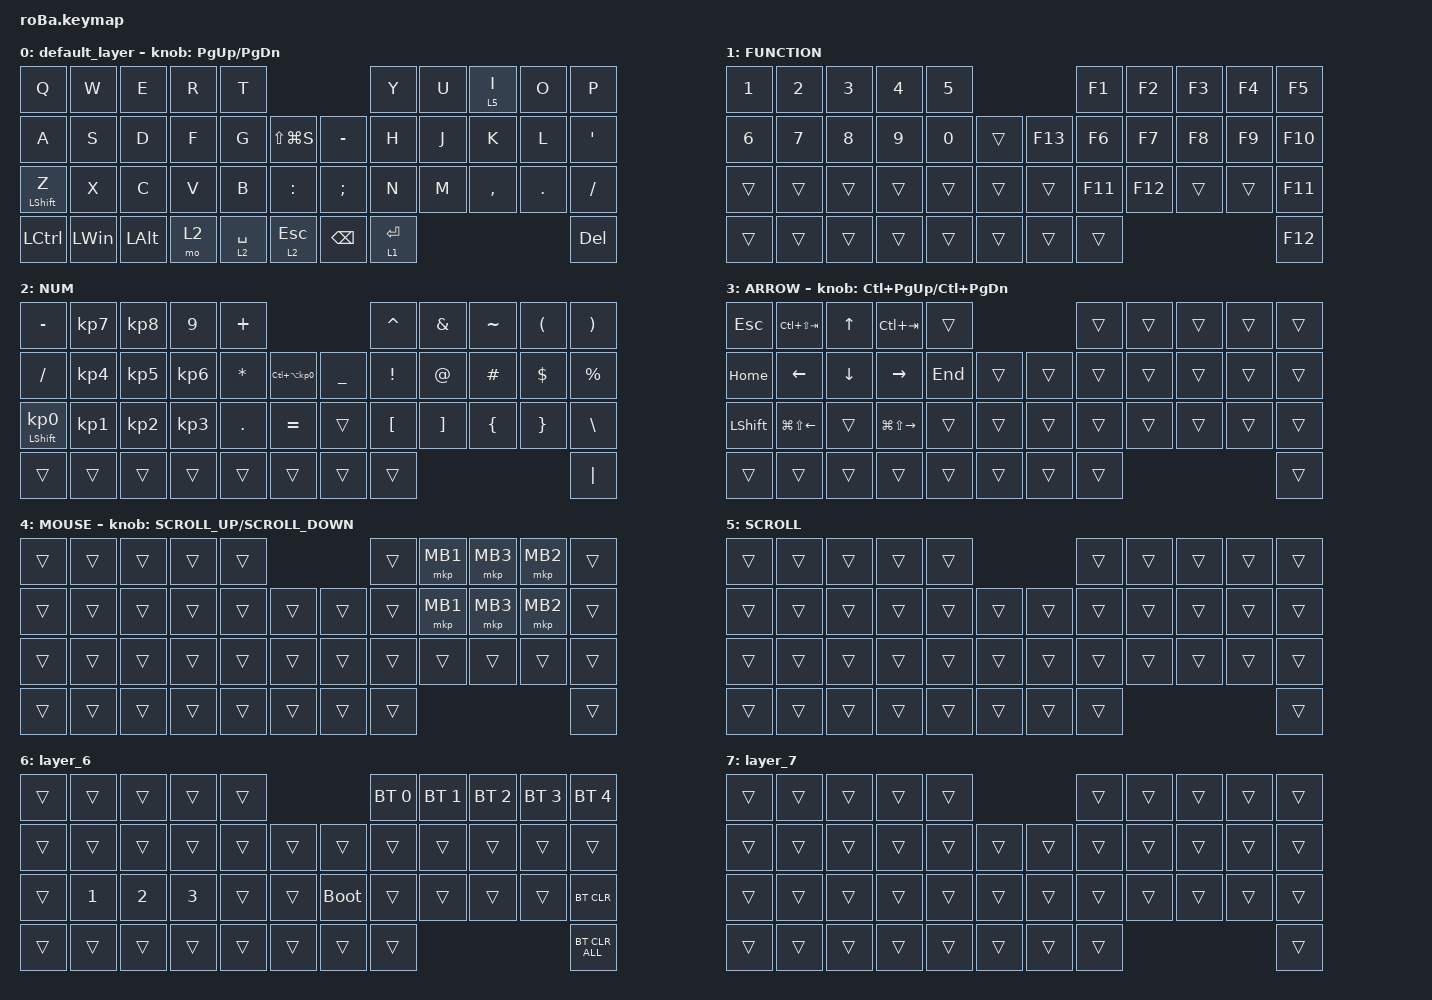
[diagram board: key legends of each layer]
#include <behaviors.dtsi>
#include <dt-bindings/zmk/bt.h>
#include <dt-bindings/zmk/keys.h>
#include <dt-bindings/zmk/pointing.h>

#define MOUSE 4
#define SCROLL 5
#define NUM 6

&mt {
    flavor = "balanced";
    quick-tap-ms = <0>;
};

/ {
    combos {
        compatible = "zmk,combos";

        esc {
            bindings = <&kp ESC>;
            key-positions = <1 0>;
        };

        shift_tab {
            bindings = <&kp LS(TAB)>;
            key-positions = <12 13>;
        };

        kana_hennkann {
            bindings = <&to_layer_0 INT_MUHENKAN>;
            key-positions = <11 10>;
        };

        double_quotation {
            bindings = <&kp DOUBLE_QUOTES>;
            key-positions = <20 21>;
        };

        eq {
            bindings = <&kp EQUAL>;
            key-positions = <24 25>;
        };

        momentary_numbers {
            bindings = <&mo 1>;
            key-positions = <28 37>;
        };
    };

    macros {
        to_layer_0: to_layer_0 {
            compatible = "zmk,behavior-macro-one-param";
            #binding-cells = <1>;
            bindings = <&to 0 &macro_param_1to1 &kp MACRO_PLACEHOLDER>;
            label = "TO_LAYER_0";
        };
    };

    behaviors {
        lt_to_layer_0: lt_to_layer_0 {
            compatible = "zmk,behavior-hold-tap";
            label = "LAYER_TAP_TO_0";
            bindings = <&mo>, <&to_layer_0>;

            #binding-cells = <2>;
            tapping-term-ms = <200>;
        };

        mouse_click_behavior: mouse_click_behavior {
            compatible = "zmk,behavior-mouse-key-press";
            label = "MOUSE_CLICK_BEHAVIOR";
            #binding-cells = <1>;
        };

        new_behavior: new_behavior {
            compatible = "zmk,behavior-toggle-layer";
            label = "NEW_BEHAVIOR";
            #binding-cells = <1>;
        };
    };

    keymap {
        compatible = "zmk,keymap";

        default_layer {
            bindings = <
&kp Q             &kp W         &kp E         &kp R  &kp T                                          &kp Y        &kp U  &lt 5 I    &kp O    &kp P
&kp A             &kp S         &kp D         &kp F  &kp G        &kp LS(LG(S))      &kp MINUS      &kp H        &kp J  &kp K      &kp L    &kp SQT
&mt LEFT_SHIFT Z  &kp X         &kp C         &kp V  &kp B        &kp COLON          &kp SEMICOLON  &kp N        &kp M  &kp COMMA  &kp DOT  &kp SLASH
&kp LCTRL         &kp LEFT_WIN  &kp LEFT_ALT  &mo 2  &lt 2 SPACE  &lt 2 ESC          &kp BACKSPACE  &lt 1 ENTER                             &kp DEL
            >;

            sensor-bindings = <&inc_dec_kp PG_UP PAGE_DOWN>;
        };

        FUNCTION {
            bindings = <
&kp N1        &kp NUMBER_2  &kp NUMBER_3  &kp NUMBER_4  &kp N5                       &kp F1   &kp F2   &kp F3  &kp F4  &kp F5
&kp NUMBER_6  &kp N7        &kp N8        &kp N9        &kp N0  &trans      &kp F13  &kp F6   &kp F7   &kp F8  &kp F9  &kp F10
&trans        &trans        &trans        &trans        &trans  &trans      &trans   &kp F11  &kp F12  &trans  &trans  &kp F11
&trans        &trans        &trans        &trans        &trans  &trans      &trans   &trans                            &kp F12
            >;
        };

        NUM {
            bindings = <
&kp MINUS                   &kp KP_NUMBER_7  &kp KP_NUMBER_8  &kp N9           &kp PLUS                                                   &kp CARET         &kp AMPERSAND      &kp TILDE       &kp LEFT_PARENTHESIS  &kp RIGHT_PARENTHESIS
&kp SLASH                   &kp KP_NUMBER_4  &kp KP_NUMBER_5  &kp KP_NUMBER_6  &kp ASTERISK  &kp LC(LA(KP_NUMBER_0))      &kp UNDERSCORE  &kp EXCLAMATION   &kp AT_SIGN        &kp HASH        &kp DOLLAR            &kp PERCENT
&mt LEFT_SHIFT KP_NUMBER_0  &kp KP_NUMBER_1  &kp KP_NUMBER_2  &kp KP_NUMBER_3  &kp PERIOD    &kp EQUAL                    &trans          &kp LEFT_BRACKET  &kp RIGHT_BRACKET  &kp LEFT_BRACE  &kp RIGHT_BRACE       &kp BACKSLASH
&trans                      &trans           &trans           &trans           &trans        &trans                       &trans          &trans                                                                     &kp PIPE
            >;
        };

        ARROW {
            bindings = <
&kp ESCAPE      &kp LC(LS(TAB))         &kp UP_ARROW    &kp LC(TAB)              &trans                       &trans  &trans  &trans  &trans  &trans
&kp HOME        &kp LEFT_ARROW          &kp DOWN_ARROW  &kp RIGHT_ARROW          &kp END  &trans      &trans  &trans  &trans  &trans  &trans  &trans
&kp LEFT_SHIFT  &kp LG(LS(LEFT_ARROW))  &trans          &kp LG(LS(RIGHT_ARROW))  &trans   &trans      &trans  &trans  &trans  &trans  &trans  &trans
&trans          &trans                  &trans          &trans                   &trans   &trans      &trans  &trans                          &trans
            >;

            sensor-bindings = <&inc_dec_kp LC(PAGE_UP) LC(PAGE_DOWN)>;
        };

        MOUSE {
            bindings = <
&trans  &trans  &trans  &trans  &trans                      &trans  &mkp MB1  &mkp MB3  &mkp MB2  &trans
&trans  &trans  &trans  &trans  &trans  &trans      &trans  &trans  &mkp MB1  &mkp MB3  &mkp MB2  &trans
&trans  &trans  &trans  &trans  &trans  &trans      &trans  &trans  &trans    &trans    &trans    &trans
&trans  &trans  &trans  &trans  &trans  &trans      &trans  &trans                                &trans
            >;

            sensor-bindings = <&inc_dec_kp K_SCROLL_UP K_SCROLL_DOWN>;
        };

        SCROLL {
            bindings = <
&trans  &trans  &trans  &trans  &trans                      &trans  &trans  &trans  &trans  &trans
&trans  &trans  &trans  &trans  &trans  &trans      &trans  &trans  &trans  &trans  &trans  &trans
&trans  &trans  &trans  &trans  &trans  &trans      &trans  &trans  &trans  &trans  &trans  &trans
&trans  &trans  &trans  &trans  &trans  &trans      &trans  &trans                          &trans
            >;
        };

        layer_6 {
            bindings = <
&trans  &trans        &trans        &trans        &trans                           &bt BT_SEL 0  &bt BT_SEL 1  &bt BT_SEL 2  &bt BT_SEL 3  &bt BT_SEL 4
&trans  &trans        &trans        &trans        &trans  &trans      &trans       &trans        &trans        &trans        &trans        &trans
&trans  &kp NUMBER_1  &kp NUMBER_2  &kp NUMBER_3  &trans  &trans      &bootloader  &trans        &trans        &trans        &trans        &bt BT_CLR
&trans  &trans        &trans        &trans        &trans  &trans      &trans       &trans                                                  &bt BT_CLR_ALL
            >;
        };

        layer_7 {
            bindings = <
&trans  &trans  &trans  &trans  &trans                      &trans  &trans  &trans  &trans  &trans
&trans  &trans  &trans  &trans  &trans  &trans      &trans  &trans  &trans  &trans  &trans  &trans
&trans  &trans  &trans  &trans  &trans  &trans      &trans  &trans  &trans  &trans  &trans  &trans
&trans  &trans  &trans  &trans  &trans  &trans      &trans  &trans                          &trans
            >;
        };
    };
};
